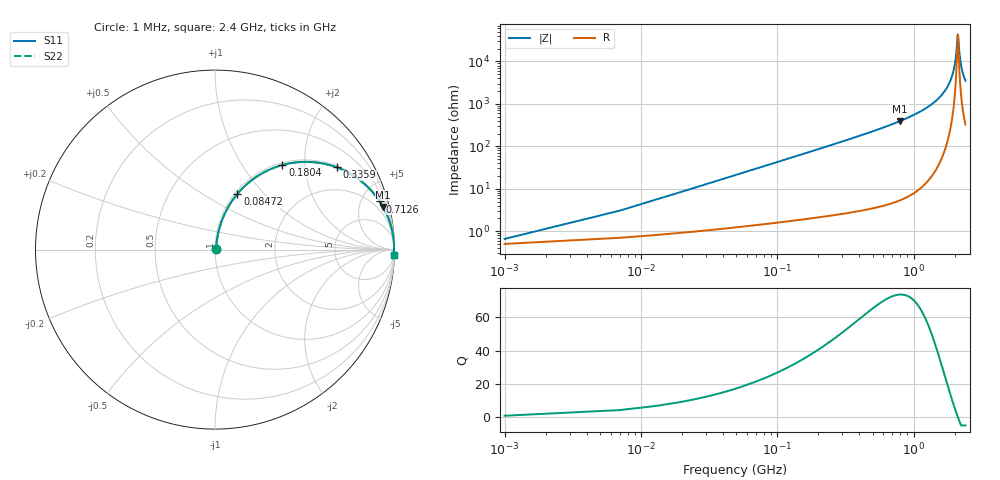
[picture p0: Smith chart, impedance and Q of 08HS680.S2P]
! Coilcraft 0805HS-680 Chip Inductor
! 13 June 2002
# MHZ S MA R 50
!Freq  MagS11  AngS11  MagS21  AngS21  MagS12  AngS12  MagS22  AngS22
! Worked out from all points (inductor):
!   403 points, 1 MHz to 2.4 GHz, reference 50 ohm
!   read as one part in series: L = 67.5 nH near 12.96 MHz
!   highest Q = 73.8 at 796.3 MHz (marker M1), where L = 78.7 nH
!   self-resonance near 2.112 GHz
!   S11 on the Smith chart (normalised r, x): 1 MHz: 1.01, +0.01; 84.72 MHz: 1.03, +0.72; 180.4 MHz: 1.04, +1.54; 335.9 MHz: 1.05, +2.92; 712.6 MHz: 1.09, +6.82; 2.4 GHz: 8, -70
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1  0.006524 40.1  0.995 -0.2  0.995 -0.2  0.006524 40.1
18.94  0.07986 79.0  0.9879 -4.6  0.9879 -4.6  0.07986 79.0
30.9  0.1291 78.0  0.9814 -7.4  0.9814 -7.4  0.1291 78.0
54.82  0.2242 73.9  0.9624 -12.9  0.9624 -12.9  0.2242 73.9
84.72  0.3345 68.1  0.9287 -19.5  0.9287 -19.5  0.3345 68.1
180.4  0.603 51.4  0.7821 -37.1  0.7821 -37.1  0.603 51.4
335.88  0.8183 34.0  0.5598 -54.9  0.5598 -54.9  0.8183 34.0
401.66  0.8641 29.3  0.4889 -59.8  0.4889 -59.8  0.8641 29.3
712.62  0.9561 16.3  0.2804 -72.9  0.2804 -72.9  0.9561 16.3
796.34  0.9661 14.2  0.2454 -75.0  0.2454 -75.0  0.9661 14.2
802.32  0.9667 14.1  0.2431 -75.2  0.2431 -75.2  0.9667 14.1
1202.98  0.9892 7.5  0.1311 -81.5  0.1311 -81.5  0.9892 7.5
1603.64  0.9961 3.6  0.06218 -84.6  0.06218 -84.6  0.9961 3.6
1854.8  0.9975 1.7  0.02924 -84.3  0.02924 -84.3  0.9975 1.7
2004.3  0.9977 0.7  0.01204 -78.8  0.01204 -78.8  0.9977 0.7
2052.14  0.9977 0.4  0.006959 -70.9  0.006959 -70.9  0.9977 0.4
2105.96  0.9977 0.0  0.002436 -19.8  0.002436 -19.8  0.9977 0.0
2117.92  0.9977 -0.0  0.002343 10.6  0.002343 10.6  0.9977 -0.0
2177.72  0.9976 -0.4  0.007038 70.0  0.007038 70.0  0.9976 -0.4
2225.56  0.9975 -0.7  0.01172 77.4  0.01172 77.4  0.9975 -0.7
2303.3  0.9973 -1.1  0.01928 81.4  0.01928 81.4  0.9973 -1.1
2400  0.997 -1.6  0.02843 83.0  0.02843 83.0  0.997 -1.6
